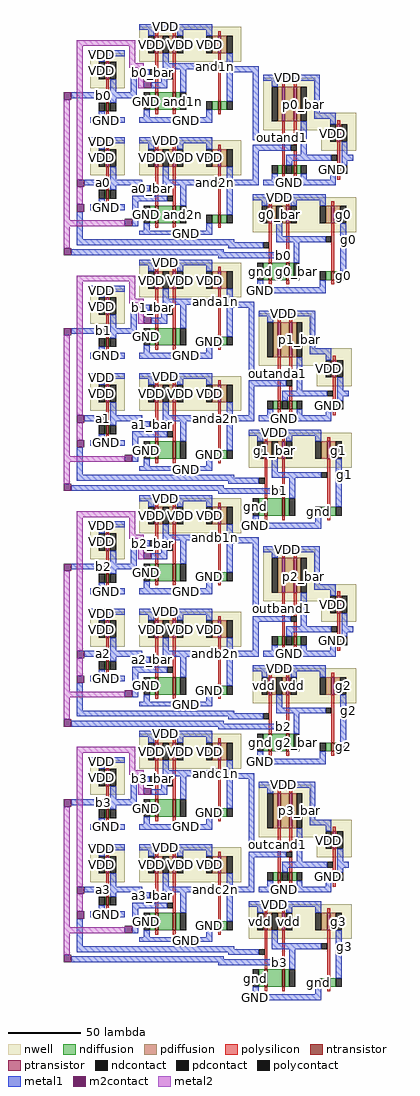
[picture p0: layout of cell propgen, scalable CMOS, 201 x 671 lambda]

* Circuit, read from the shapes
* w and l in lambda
.subckt propgen GND VDD a0 a0_bar a1 a1_bar a2 a2_bar a3 a3_bar and0m and1m and1n and2m and2n anda1m anda1n anda2m anda2n andb1m andb1n andb2m andb2n andc1m andc1n andc2m andc2n b0 b0_bar b1 b1_bar b2 b2_bar b3 b3_bar g0 g0_bar g1 g1_bar g2 g2_bar g3 g3_bar outand1 outand2 outanda1 outanda2 outband1 outband2 outcand1 outcand2 p0 p0_bar p1 p1_bar p2 p2_bar p3 p3_bar
M1 a3_bar a3 GND VSUBS nfet w=6 l=2
M2 b3_bar b3 GND VSUBS nfet w=6 l=2
M3 a2_bar a2 GND VSUBS nfet w=6 l=2
M4 b2_bar b2 GND VSUBS nfet w=6 l=2
M5 a1_bar a1 GND VSUBS nfet w=6 l=2
M6 b1_bar b1 GND VSUBS nfet w=6 l=2
M7 a0_bar a0 GND VSUBS nfet w=6 l=2
M8 b0_bar b0 GND VSUBS nfet w=6 l=2
M9 andc2m a3_bar GND VSUBS nfet w=12 l=2
M10 andc1m b3_bar GND VSUBS nfet w=12 l=2
M11 andb2m a2_bar GND VSUBS nfet w=12 l=2
M12 andb1m b2_bar GND VSUBS nfet w=12 l=2
M13 anda2m a1_bar GND VSUBS nfet w=12 l=2
M14 anda1m b1_bar GND VSUBS nfet w=12 l=2
M15 and2m a0_bar GND VSUBS nfet w=12 l=2
M16 and1m b0_bar GND VSUBS nfet w=12 l=2
M17 andc2n b3 andc2m VSUBS nfet w=12 l=2
M18 andc1n a3 andc1m VSUBS nfet w=12 l=2
M19 andb2n b2 andb2m VSUBS nfet w=12 l=2
M20 andb1n a2 andb1m VSUBS nfet w=12 l=2
M21 anda2n b1 anda2m VSUBS nfet w=12 l=2
M22 anda1n a1 anda1m VSUBS nfet w=12 l=2
M23 and2n b0 and2m VSUBS nfet w=12 l=2
M24 and1n a0 and1m VSUBS nfet w=12 l=2
M25 outcand2 andc2n GND VSUBS nfet w=6 l=2
M26 outcand1 andc1n GND VSUBS nfet w=6 l=2
M27 outband2 andb2n GND VSUBS nfet w=6 l=2
M28 outband1 andb1n GND VSUBS nfet w=6 l=2
M29 outanda2 anda2n GND VSUBS nfet w=6 l=2
M30 outanda1 anda1n GND VSUBS nfet w=6 l=2
M31 outand2 and2n GND VSUBS nfet w=6 l=2
M32 outand1 and1n GND VSUBS nfet w=6 l=2
M33 n1 a3 GND VSUBS nfet w=12 l=2
M34 n2 a1 GND VSUBS nfet w=12 l=2
M35 n3 a2 GND VSUBS nfet w=12 l=2
M36 and0m a0 GND VSUBS nfet w=12 l=2
M37 p3_bar outcand1 GND VSUBS nfet w=6 l=2
M38 p1_bar outanda1 GND VSUBS nfet w=6 l=2
M39 g3_bar b3 n1 VSUBS nfet w=12 l=2
M40 p2_bar outband1 GND VSUBS nfet w=6 l=2
M41 g1_bar b1 n2 VSUBS nfet w=12 l=2
M42 p0_bar outand1 GND VSUBS nfet w=6 l=2
M43 g2_bar b2 n3 VSUBS nfet w=12 l=2
M44 g0_bar b0 and0m VSUBS nfet w=12 l=2
M45 GND outcand2 p3_bar VSUBS nfet w=6 l=2
M46 GND outanda2 p1_bar VSUBS nfet w=6 l=2
M47 GND outband2 p2_bar VSUBS nfet w=6 l=2
M48 GND outand2 p0_bar VSUBS nfet w=6 l=2
M49 g3 g3_bar GND VSUBS nfet w=6 l=2
M50 g1 g1_bar GND VSUBS nfet w=6 l=2
M51 g2 g2_bar GND VSUBS nfet w=6 l=2
M52 g0 g0_bar GND VSUBS nfet w=6 l=2
M53 p3 p3_bar GND VSUBS nfet w=6 l=2
M54 p1 p1_bar GND VSUBS nfet w=6 l=2
M55 p2 p2_bar GND VSUBS nfet w=6 l=2
M56 p0 p0_bar GND VSUBS nfet w=6 l=2
M57 a3_bar a3 VDD n4 pfet w=12 l=2
M58 b3_bar b3 VDD n5 pfet w=12 l=2
M59 a2_bar a2 VDD n6 pfet w=12 l=2
M60 b2_bar b2 VDD n7 pfet w=12 l=2
M61 a1_bar a1 VDD n8 pfet w=12 l=2
M62 b1_bar b1 VDD n9 pfet w=12 l=2
M63 a0_bar a0 VDD n10 pfet w=12 l=2
M64 b0_bar b0 VDD n11 pfet w=12 l=2
M65 andc2n a3_bar VDD n12 pfet w=12 l=2
M66 andc1n b3_bar VDD n13 pfet w=12 l=2
M67 andb2n a2_bar VDD n14 pfet w=12 l=2
M68 andb1n b2_bar VDD n15 pfet w=12 l=2
M69 anda2n a1_bar VDD n16 pfet w=12 l=2
M70 anda1n b1_bar VDD n17 pfet w=12 l=2
M71 and2n a0_bar VDD n18 pfet w=12 l=2
M72 and1n b0_bar VDD n19 pfet w=12 l=2
M73 VDD b3 andc2n n12 pfet w=12 l=2
M74 VDD a3 andc1n n13 pfet w=12 l=2
M75 VDD b2 andb2n n14 pfet w=12 l=2
M76 VDD a2 andb1n n15 pfet w=12 l=2
M77 VDD b1 anda2n n16 pfet w=12 l=2
M78 VDD a1 anda1n n17 pfet w=12 l=2
M79 VDD b0 and2n n18 pfet w=12 l=2
M80 VDD a0 and1n n19 pfet w=12 l=2
M81 outcand2 andc2n VDD n12 pfet w=12 l=2
M82 outcand1 andc1n VDD n13 pfet w=12 l=2
M83 outband2 andb2n VDD n14 pfet w=12 l=2
M84 outband1 andb1n VDD n15 pfet w=12 l=2
M85 outanda2 anda2n VDD n16 pfet w=12 l=2
M86 outanda1 anda1n VDD n17 pfet w=12 l=2
M87 outand2 and2n VDD n18 pfet w=12 l=2
M88 outand1 and1n VDD n19 pfet w=12 l=2
M89 g3_bar a3 VDD n20 pfet w=12 l=2
M90 g1_bar a1 VDD n21 pfet w=12 l=2
M91 g2_bar a2 VDD n22 pfet w=12 l=2
M92 g0_bar a0 VDD n23 pfet w=12 l=2
M93 n24 outcand1 VDD n25 pfet w=24 l=2
M94 n26 outanda1 VDD n27 pfet w=24 l=2
M95 VDD b3 g3_bar n20 pfet w=12 l=2
M96 n28 outband1 VDD n29 pfet w=24 l=2
M97 VDD b1 g1_bar n21 pfet w=12 l=2
M98 n30 outand1 VDD n31 pfet w=24 l=2
M99 VDD b2 g2_bar n22 pfet w=12 l=2
M100 VDD b0 g0_bar n23 pfet w=12 l=2
M101 p3_bar outcand2 n24 n25 pfet w=24 l=2
M102 p1_bar outanda2 n26 n27 pfet w=24 l=2
M103 p2_bar outband2 n28 n29 pfet w=24 l=2
M104 p0_bar outand2 n30 n31 pfet w=24 l=2
M105 g3 g3_bar VDD n20 pfet w=12 l=2
M106 g1 g1_bar VDD n21 pfet w=12 l=2
M107 g2 g2_bar VDD n22 pfet w=12 l=2
M108 g0 g0_bar VDD n23 pfet w=12 l=2
M109 p3 p3_bar VDD n25 pfet w=12 l=2
M110 p1 p1_bar VDD n27 pfet w=12 l=2
M111 p2 p2_bar VDD n29 pfet w=12 l=2
M112 p0 p0_bar VDD n31 pfet w=12 l=2
.ends

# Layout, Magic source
magic
tech scmos
<< nwell >>
rect 18 87 42 111
rect 52 105 122 129
rect 137 70 173 94
rect 137 58 201 70
rect 18 27 42 51
rect 52 27 122 51
rect 177 44 201 58
rect 130 -12 201 12
rect 18 -75 42 -51
rect 52 -57 122 -33
rect 134 -92 170 -68
rect 134 -104 198 -92
rect 18 -135 42 -111
rect 52 -135 122 -111
rect 174 -118 198 -104
rect 127 -174 198 -150
rect 18 -237 42 -213
rect 52 -219 122 -195
rect 137 -254 173 -230
rect 137 -266 201 -254
rect 18 -297 42 -273
rect 52 -297 122 -273
rect 177 -280 201 -266
rect 130 -336 201 -312
rect 18 -399 42 -375
rect 52 -381 122 -357
rect 134 -416 170 -392
rect 134 -428 198 -416
rect 18 -459 42 -435
rect 52 -459 122 -435
rect 174 -442 198 -428
rect 127 -498 198 -474
<< ntransistor >>
rect 29 71 31 77
rect 63 72 65 84
rect 75 72 77 84
rect 106 72 108 78
rect 29 11 31 17
rect 63 -6 65 6
rect 75 -6 77 6
rect 150 28 152 34
rect 158 28 160 34
rect 188 28 190 34
rect 106 -6 108 0
rect 141 -45 143 -33
rect 153 -45 155 -33
rect 184 -45 186 -39
rect 29 -91 31 -85
rect 63 -90 65 -78
rect 75 -90 77 -78
rect 106 -90 108 -84
rect 29 -151 31 -145
rect 63 -168 65 -156
rect 75 -168 77 -156
rect 147 -134 149 -128
rect 155 -134 157 -128
rect 185 -134 187 -128
rect 106 -168 108 -162
rect 138 -207 140 -195
rect 150 -207 152 -195
rect 181 -207 183 -201
rect 29 -253 31 -247
rect 63 -252 65 -240
rect 75 -252 77 -240
rect 106 -252 108 -246
rect 29 -313 31 -307
rect 63 -330 65 -318
rect 75 -330 77 -318
rect 150 -296 152 -290
rect 158 -296 160 -290
rect 188 -296 190 -290
rect 106 -330 108 -324
rect 141 -369 143 -357
rect 153 -369 155 -357
rect 184 -369 186 -363
rect 29 -415 31 -409
rect 63 -414 65 -402
rect 75 -414 77 -402
rect 106 -414 108 -408
rect 29 -475 31 -469
rect 63 -492 65 -480
rect 75 -492 77 -480
rect 147 -458 149 -452
rect 155 -458 157 -452
rect 185 -458 187 -452
rect 106 -492 108 -486
rect 138 -531 140 -519
rect 150 -531 152 -519
rect 181 -531 183 -525
<< ptransistor >>
rect 63 111 65 123
rect 75 111 77 123
rect 106 111 108 123
rect 29 93 31 105
rect 150 64 152 88
rect 158 64 160 88
rect 29 33 31 45
rect 63 33 65 45
rect 75 33 77 45
rect 106 33 108 45
rect 188 50 190 62
rect 141 -6 143 6
rect 153 -6 155 6
rect 184 -6 186 6
rect 63 -51 65 -39
rect 75 -51 77 -39
rect 106 -51 108 -39
rect 29 -69 31 -57
rect 147 -98 149 -74
rect 155 -98 157 -74
rect 29 -129 31 -117
rect 63 -129 65 -117
rect 75 -129 77 -117
rect 106 -129 108 -117
rect 185 -112 187 -100
rect 138 -168 140 -156
rect 150 -168 152 -156
rect 181 -168 183 -156
rect 63 -213 65 -201
rect 75 -213 77 -201
rect 106 -213 108 -201
rect 29 -231 31 -219
rect 150 -260 152 -236
rect 158 -260 160 -236
rect 29 -291 31 -279
rect 63 -291 65 -279
rect 75 -291 77 -279
rect 106 -291 108 -279
rect 188 -274 190 -262
rect 141 -330 143 -318
rect 153 -330 155 -318
rect 184 -330 186 -318
rect 63 -375 65 -363
rect 75 -375 77 -363
rect 106 -375 108 -363
rect 29 -393 31 -381
rect 147 -422 149 -398
rect 155 -422 157 -398
rect 29 -453 31 -441
rect 63 -453 65 -441
rect 75 -453 77 -441
rect 106 -453 108 -441
rect 185 -436 187 -424
rect 138 -492 140 -480
rect 150 -492 152 -480
rect 181 -492 183 -480
<< ndiffusion >>
rect 28 71 29 77
rect 31 71 32 77
rect 59 72 63 84
rect 65 72 75 84
rect 77 72 80 84
rect 102 72 106 78
rect 108 72 112 78
rect 28 11 29 17
rect 31 11 32 17
rect 59 -6 63 6
rect 65 -6 75 6
rect 77 -6 80 6
rect 147 28 150 34
rect 152 28 153 34
rect 157 28 158 34
rect 160 28 163 34
rect 187 28 188 34
rect 190 28 191 34
rect 102 -6 106 0
rect 108 -6 112 0
rect 137 -45 141 -33
rect 143 -45 153 -33
rect 155 -45 158 -33
rect 180 -45 184 -39
rect 186 -45 190 -39
rect 28 -91 29 -85
rect 31 -91 32 -85
rect 59 -90 63 -78
rect 65 -90 75 -78
rect 77 -90 80 -78
rect 102 -90 106 -84
rect 108 -90 112 -84
rect 28 -151 29 -145
rect 31 -151 32 -145
rect 59 -168 63 -156
rect 65 -168 75 -156
rect 77 -168 80 -156
rect 144 -134 147 -128
rect 149 -134 150 -128
rect 154 -134 155 -128
rect 157 -134 160 -128
rect 184 -134 185 -128
rect 187 -134 188 -128
rect 102 -168 106 -162
rect 108 -168 112 -162
rect 134 -207 138 -195
rect 140 -207 150 -195
rect 152 -207 155 -195
rect 177 -207 181 -201
rect 183 -207 187 -201
rect 28 -253 29 -247
rect 31 -253 32 -247
rect 59 -252 63 -240
rect 65 -252 75 -240
rect 77 -252 80 -240
rect 102 -252 106 -246
rect 108 -252 112 -246
rect 28 -313 29 -307
rect 31 -313 32 -307
rect 59 -330 63 -318
rect 65 -330 75 -318
rect 77 -330 80 -318
rect 147 -296 150 -290
rect 152 -296 153 -290
rect 157 -296 158 -290
rect 160 -296 163 -290
rect 187 -296 188 -290
rect 190 -296 191 -290
rect 102 -330 106 -324
rect 108 -330 112 -324
rect 137 -369 141 -357
rect 143 -369 153 -357
rect 155 -369 158 -357
rect 180 -369 184 -363
rect 186 -369 190 -363
rect 28 -415 29 -409
rect 31 -415 32 -409
rect 59 -414 63 -402
rect 65 -414 75 -402
rect 77 -414 80 -402
rect 102 -414 106 -408
rect 108 -414 112 -408
rect 28 -475 29 -469
rect 31 -475 32 -469
rect 59 -492 63 -480
rect 65 -492 75 -480
rect 77 -492 80 -480
rect 144 -458 147 -452
rect 149 -458 150 -452
rect 154 -458 155 -452
rect 157 -458 160 -452
rect 184 -458 185 -452
rect 187 -458 188 -452
rect 102 -492 106 -486
rect 108 -492 112 -486
rect 134 -531 138 -519
rect 140 -531 150 -519
rect 152 -531 155 -519
rect 177 -531 181 -525
rect 183 -531 187 -525
<< pdiffusion >>
rect 62 111 63 123
rect 65 111 68 123
rect 72 111 75 123
rect 77 111 78 123
rect 102 111 106 123
rect 108 111 112 123
rect 28 93 29 105
rect 31 93 32 105
rect 147 64 150 88
rect 152 64 158 88
rect 160 64 163 88
rect 28 33 29 45
rect 31 33 32 45
rect 62 33 63 45
rect 65 33 68 45
rect 72 33 75 45
rect 77 33 78 45
rect 102 33 106 45
rect 108 33 112 45
rect 187 50 188 62
rect 190 50 191 62
rect 140 -6 141 6
rect 143 -6 146 6
rect 150 -6 153 6
rect 155 -6 156 6
rect 180 -6 184 6
rect 186 -6 190 6
rect 62 -51 63 -39
rect 65 -51 68 -39
rect 72 -51 75 -39
rect 77 -51 78 -39
rect 102 -51 106 -39
rect 108 -51 112 -39
rect 28 -69 29 -57
rect 31 -69 32 -57
rect 144 -98 147 -74
rect 149 -98 155 -74
rect 157 -98 160 -74
rect 28 -129 29 -117
rect 31 -129 32 -117
rect 62 -129 63 -117
rect 65 -129 68 -117
rect 72 -129 75 -117
rect 77 -129 78 -117
rect 102 -129 106 -117
rect 108 -129 112 -117
rect 184 -112 185 -100
rect 187 -112 188 -100
rect 137 -168 138 -156
rect 140 -168 143 -156
rect 147 -168 150 -156
rect 152 -168 153 -156
rect 177 -168 181 -156
rect 183 -168 187 -156
rect 62 -213 63 -201
rect 65 -213 68 -201
rect 72 -213 75 -201
rect 77 -213 78 -201
rect 102 -213 106 -201
rect 108 -213 112 -201
rect 28 -231 29 -219
rect 31 -231 32 -219
rect 147 -260 150 -236
rect 152 -260 158 -236
rect 160 -260 163 -236
rect 28 -291 29 -279
rect 31 -291 32 -279
rect 62 -291 63 -279
rect 65 -291 68 -279
rect 72 -291 75 -279
rect 77 -291 78 -279
rect 102 -291 106 -279
rect 108 -291 112 -279
rect 187 -274 188 -262
rect 190 -274 191 -262
rect 140 -330 141 -318
rect 143 -330 146 -318
rect 150 -330 153 -318
rect 155 -330 156 -318
rect 180 -330 184 -318
rect 186 -330 190 -318
rect 62 -375 63 -363
rect 65 -375 68 -363
rect 72 -375 75 -363
rect 77 -375 78 -363
rect 102 -375 106 -363
rect 108 -375 112 -363
rect 28 -393 29 -381
rect 31 -393 32 -381
rect 144 -422 147 -398
rect 149 -422 155 -398
rect 157 -422 160 -398
rect 28 -453 29 -441
rect 31 -453 32 -441
rect 62 -453 63 -441
rect 65 -453 68 -441
rect 72 -453 75 -441
rect 77 -453 78 -441
rect 102 -453 106 -441
rect 108 -453 112 -441
rect 184 -436 185 -424
rect 187 -436 188 -424
rect 137 -492 138 -480
rect 140 -492 143 -480
rect 147 -492 150 -480
rect 152 -492 153 -480
rect 177 -492 181 -480
rect 183 -492 187 -480
<< ndcontact >>
rect 24 71 28 77
rect 32 71 36 77
rect 55 72 59 84
rect 80 72 84 84
rect 98 72 102 78
rect 112 72 116 78
rect 24 11 28 17
rect 32 11 36 17
rect 55 -6 59 6
rect 80 -6 84 6
rect 143 28 147 34
rect 153 28 157 34
rect 163 28 167 34
rect 183 28 187 34
rect 191 28 195 34
rect 98 -6 102 0
rect 112 -6 116 0
rect 133 -45 137 -33
rect 158 -45 162 -33
rect 176 -45 180 -39
rect 190 -45 194 -39
rect 24 -91 28 -85
rect 32 -91 36 -85
rect 55 -90 59 -78
rect 80 -90 84 -78
rect 98 -90 102 -84
rect 112 -90 116 -84
rect 24 -151 28 -145
rect 32 -151 36 -145
rect 55 -168 59 -156
rect 80 -168 84 -156
rect 140 -134 144 -128
rect 150 -134 154 -128
rect 160 -134 164 -128
rect 180 -134 184 -128
rect 188 -134 192 -128
rect 98 -168 102 -162
rect 112 -168 116 -162
rect 130 -207 134 -195
rect 155 -207 159 -195
rect 173 -207 177 -201
rect 187 -207 191 -201
rect 24 -253 28 -247
rect 32 -253 36 -247
rect 55 -252 59 -240
rect 80 -252 84 -240
rect 98 -252 102 -246
rect 112 -252 116 -246
rect 24 -313 28 -307
rect 32 -313 36 -307
rect 55 -330 59 -318
rect 80 -330 84 -318
rect 143 -296 147 -290
rect 153 -296 157 -290
rect 163 -296 167 -290
rect 183 -296 187 -290
rect 191 -296 195 -290
rect 98 -330 102 -324
rect 112 -330 116 -324
rect 133 -369 137 -357
rect 158 -369 162 -357
rect 176 -369 180 -363
rect 190 -369 194 -363
rect 24 -415 28 -409
rect 32 -415 36 -409
rect 55 -414 59 -402
rect 80 -414 84 -402
rect 98 -414 102 -408
rect 112 -414 116 -408
rect 24 -475 28 -469
rect 32 -475 36 -469
rect 55 -492 59 -480
rect 80 -492 84 -480
rect 140 -458 144 -452
rect 150 -458 154 -452
rect 160 -458 164 -452
rect 180 -458 184 -452
rect 188 -458 192 -452
rect 98 -492 102 -486
rect 112 -492 116 -486
rect 130 -531 134 -519
rect 155 -531 159 -519
rect 173 -531 177 -525
rect 187 -531 191 -525
<< pdcontact >>
rect 58 111 62 123
rect 68 111 72 123
rect 78 111 82 123
rect 98 111 102 123
rect 112 111 116 123
rect 24 93 28 105
rect 32 93 36 105
rect 143 64 147 88
rect 163 64 167 88
rect 24 33 28 45
rect 32 33 36 45
rect 58 33 62 45
rect 68 33 72 45
rect 78 33 82 45
rect 98 33 102 45
rect 112 33 116 45
rect 183 50 187 62
rect 191 50 195 62
rect 136 -6 140 6
rect 146 -6 150 6
rect 156 -6 160 6
rect 176 -6 180 6
rect 190 -6 194 6
rect 58 -51 62 -39
rect 68 -51 72 -39
rect 78 -51 82 -39
rect 98 -51 102 -39
rect 112 -51 116 -39
rect 24 -69 28 -57
rect 32 -69 36 -57
rect 140 -98 144 -74
rect 160 -98 164 -74
rect 24 -129 28 -117
rect 32 -129 36 -117
rect 58 -129 62 -117
rect 68 -129 72 -117
rect 78 -129 82 -117
rect 98 -129 102 -117
rect 112 -129 116 -117
rect 180 -112 184 -100
rect 188 -112 192 -100
rect 133 -168 137 -156
rect 143 -168 147 -156
rect 153 -168 157 -156
rect 173 -168 177 -156
rect 187 -168 191 -156
rect 58 -213 62 -201
rect 68 -213 72 -201
rect 78 -213 82 -201
rect 98 -213 102 -201
rect 112 -213 116 -201
rect 24 -231 28 -219
rect 32 -231 36 -219
rect 143 -260 147 -236
rect 163 -260 167 -236
rect 24 -291 28 -279
rect 32 -291 36 -279
rect 58 -291 62 -279
rect 68 -291 72 -279
rect 78 -291 82 -279
rect 98 -291 102 -279
rect 112 -291 116 -279
rect 183 -274 187 -262
rect 191 -274 195 -262
rect 136 -330 140 -318
rect 146 -330 150 -318
rect 156 -330 160 -318
rect 176 -330 180 -318
rect 190 -330 194 -318
rect 58 -375 62 -363
rect 68 -375 72 -363
rect 78 -375 82 -363
rect 98 -375 102 -363
rect 112 -375 116 -363
rect 24 -393 28 -381
rect 32 -393 36 -381
rect 140 -422 144 -398
rect 160 -422 164 -398
rect 24 -453 28 -441
rect 32 -453 36 -441
rect 58 -453 62 -441
rect 68 -453 72 -441
rect 78 -453 82 -441
rect 98 -453 102 -441
rect 112 -453 116 -441
rect 180 -436 184 -424
rect 188 -436 192 -424
rect 133 -492 137 -480
rect 143 -492 147 -480
rect 153 -492 157 -480
rect 173 -492 177 -480
rect 187 -492 191 -480
<< polysilicon >>
rect 63 123 65 126
rect 75 123 77 126
rect 106 123 108 126
rect 29 105 31 108
rect 29 77 31 93
rect 63 84 65 111
rect 75 84 77 111
rect 106 78 108 111
rect 150 88 152 91
rect 158 88 160 91
rect 29 68 31 71
rect 63 69 65 72
rect 75 69 77 72
rect 106 69 108 72
rect 150 55 152 64
rect 29 45 31 48
rect 63 45 65 48
rect 75 45 77 48
rect 106 45 108 48
rect 150 34 152 51
rect 158 48 160 64
rect 188 62 190 65
rect 158 34 160 44
rect 188 34 190 50
rect 29 17 31 33
rect 29 8 31 11
rect 63 6 65 33
rect 75 6 77 33
rect 106 0 108 33
rect 150 25 152 28
rect 158 25 160 28
rect 188 24 190 28
rect 141 6 143 9
rect 153 6 155 9
rect 184 6 186 9
rect 63 -9 65 -6
rect 75 -9 77 -6
rect 106 -9 108 -6
rect 141 -33 143 -6
rect 153 -33 155 -6
rect 63 -39 65 -36
rect 75 -39 77 -36
rect 106 -39 108 -36
rect 184 -39 186 -6
rect 141 -48 143 -45
rect 153 -48 155 -45
rect 184 -48 186 -45
rect 29 -57 31 -54
rect 29 -85 31 -69
rect 63 -78 65 -51
rect 75 -78 77 -51
rect 106 -84 108 -51
rect 147 -74 149 -71
rect 155 -74 157 -71
rect 29 -94 31 -91
rect 63 -93 65 -90
rect 75 -93 77 -90
rect 106 -93 108 -90
rect 147 -107 149 -98
rect 29 -117 31 -114
rect 63 -117 65 -114
rect 75 -117 77 -114
rect 106 -117 108 -114
rect 147 -128 149 -111
rect 155 -114 157 -98
rect 185 -100 187 -97
rect 155 -128 157 -118
rect 185 -128 187 -112
rect 29 -145 31 -129
rect 29 -154 31 -151
rect 63 -156 65 -129
rect 75 -156 77 -129
rect 106 -162 108 -129
rect 147 -137 149 -134
rect 155 -137 157 -134
rect 185 -138 187 -134
rect 138 -156 140 -153
rect 150 -156 152 -153
rect 181 -156 183 -153
rect 63 -171 65 -168
rect 75 -171 77 -168
rect 106 -171 108 -168
rect 138 -195 140 -168
rect 150 -195 152 -168
rect 63 -201 65 -198
rect 75 -201 77 -198
rect 106 -201 108 -198
rect 181 -201 183 -168
rect 138 -210 140 -207
rect 150 -210 152 -207
rect 181 -210 183 -207
rect 29 -219 31 -216
rect 29 -247 31 -231
rect 63 -240 65 -213
rect 75 -240 77 -213
rect 106 -246 108 -213
rect 150 -236 152 -233
rect 158 -236 160 -233
rect 29 -256 31 -253
rect 63 -255 65 -252
rect 75 -255 77 -252
rect 106 -255 108 -252
rect 150 -269 152 -260
rect 29 -279 31 -276
rect 63 -279 65 -276
rect 75 -279 77 -276
rect 106 -279 108 -276
rect 150 -290 152 -273
rect 158 -276 160 -260
rect 188 -262 190 -259
rect 158 -290 160 -280
rect 188 -290 190 -274
rect 29 -307 31 -291
rect 29 -316 31 -313
rect 63 -318 65 -291
rect 75 -318 77 -291
rect 106 -324 108 -291
rect 150 -299 152 -296
rect 158 -299 160 -296
rect 188 -300 190 -296
rect 141 -318 143 -315
rect 153 -318 155 -315
rect 184 -318 186 -315
rect 63 -333 65 -330
rect 75 -333 77 -330
rect 106 -333 108 -330
rect 141 -357 143 -330
rect 153 -357 155 -330
rect 63 -363 65 -360
rect 75 -363 77 -360
rect 106 -363 108 -360
rect 184 -363 186 -330
rect 141 -372 143 -369
rect 153 -372 155 -369
rect 184 -372 186 -369
rect 29 -381 31 -378
rect 29 -409 31 -393
rect 63 -402 65 -375
rect 75 -402 77 -375
rect 106 -408 108 -375
rect 147 -398 149 -395
rect 155 -398 157 -395
rect 29 -418 31 -415
rect 63 -417 65 -414
rect 75 -417 77 -414
rect 106 -417 108 -414
rect 147 -431 149 -422
rect 29 -441 31 -438
rect 63 -441 65 -438
rect 75 -441 77 -438
rect 106 -441 108 -438
rect 147 -452 149 -435
rect 155 -438 157 -422
rect 185 -424 187 -421
rect 155 -452 157 -442
rect 185 -452 187 -436
rect 29 -469 31 -453
rect 29 -478 31 -475
rect 63 -480 65 -453
rect 75 -480 77 -453
rect 106 -486 108 -453
rect 147 -461 149 -458
rect 155 -461 157 -458
rect 185 -462 187 -458
rect 138 -480 140 -477
rect 150 -480 152 -477
rect 181 -480 183 -477
rect 63 -495 65 -492
rect 75 -495 77 -492
rect 106 -495 108 -492
rect 138 -519 140 -492
rect 150 -519 152 -492
rect 181 -525 183 -492
rect 138 -534 140 -531
rect 150 -534 152 -531
rect 181 -534 183 -531
<< polycontact >>
rect 59 96 63 100
rect 25 80 29 84
rect 71 93 75 97
rect 102 100 106 104
rect 148 51 152 55
rect 156 44 160 48
rect 184 37 188 41
rect 25 20 29 24
rect 59 16 63 20
rect 71 9 75 13
rect 102 20 106 24
rect 137 -23 141 -19
rect 149 -30 153 -26
rect 180 -19 184 -15
rect 59 -66 63 -62
rect 25 -82 29 -78
rect 71 -69 75 -65
rect 102 -62 106 -58
rect 145 -111 149 -107
rect 153 -118 157 -114
rect 181 -125 185 -121
rect 25 -142 29 -138
rect 59 -146 63 -142
rect 71 -153 75 -149
rect 102 -142 106 -138
rect 134 -185 138 -181
rect 146 -192 150 -188
rect 177 -181 181 -177
rect 59 -228 63 -224
rect 25 -244 29 -240
rect 71 -231 75 -227
rect 102 -224 106 -220
rect 148 -273 152 -269
rect 156 -280 160 -276
rect 184 -287 188 -283
rect 25 -304 29 -300
rect 59 -308 63 -304
rect 71 -315 75 -311
rect 102 -304 106 -300
rect 137 -347 141 -343
rect 149 -354 153 -350
rect 180 -343 184 -339
rect 59 -390 63 -386
rect 25 -406 29 -402
rect 71 -393 75 -389
rect 102 -386 106 -382
rect 145 -435 149 -431
rect 153 -442 157 -438
rect 181 -449 185 -445
rect 25 -466 29 -462
rect 59 -470 63 -466
rect 71 -477 75 -473
rect 102 -466 106 -462
rect 134 -509 138 -505
rect 146 -516 150 -512
rect 177 -505 181 -501
<< metal1 >>
rect 52 127 102 131
rect 58 123 62 127
rect 78 123 82 127
rect 18 109 42 113
rect 98 123 102 127
rect 24 105 28 109
rect 68 104 72 111
rect 68 100 102 104
rect 112 102 116 111
rect 32 84 36 93
rect 46 96 59 100
rect 46 84 50 96
rect 67 91 71 97
rect 60 87 71 91
rect 80 84 84 100
rect 5 80 25 84
rect 32 80 50 84
rect 32 77 36 80
rect 112 98 134 102
rect 112 78 116 98
rect 24 67 28 71
rect 55 67 59 72
rect 98 67 102 72
rect 18 63 42 67
rect 52 63 102 67
rect 130 55 134 98
rect 137 92 176 96
rect 143 88 147 92
rect 172 70 176 92
rect 172 66 187 70
rect 18 49 42 53
rect 52 49 102 53
rect 130 51 148 55
rect 24 45 28 49
rect 58 45 62 49
rect 78 45 82 49
rect 98 45 102 49
rect 32 24 36 33
rect 68 24 72 33
rect 112 24 116 33
rect 130 44 156 48
rect 130 24 134 44
rect 163 41 167 64
rect 183 62 187 66
rect 191 41 195 50
rect 153 37 184 41
rect 191 37 199 41
rect 153 34 157 37
rect 191 34 195 37
rect 143 24 147 28
rect 163 24 167 28
rect 183 24 187 28
rect 14 20 25 24
rect 32 20 54 24
rect 68 20 102 24
rect 112 20 134 24
rect 137 20 187 24
rect 32 17 36 20
rect 50 16 59 20
rect 24 7 28 11
rect 47 9 71 13
rect 18 3 42 7
rect 9 -17 13 2
rect 47 -8 51 9
rect 80 6 84 20
rect 112 0 116 20
rect 130 10 180 14
rect 136 6 140 10
rect 156 6 160 10
rect 176 6 180 10
rect 55 -11 59 -6
rect 98 -11 102 -6
rect 52 -14 102 -11
rect 146 -15 150 -6
rect 190 -15 194 -6
rect 9 -19 117 -17
rect 146 -19 180 -15
rect 190 -19 198 -15
rect 9 -21 137 -19
rect 113 -23 137 -21
rect 5 -26 110 -24
rect 5 -28 149 -26
rect 106 -30 149 -28
rect 52 -35 102 -31
rect 158 -33 162 -19
rect 58 -39 62 -35
rect 78 -39 82 -35
rect 18 -53 42 -49
rect 98 -39 102 -35
rect 190 -39 194 -19
rect 133 -50 137 -45
rect 176 -50 180 -45
rect 24 -57 28 -53
rect 68 -58 72 -51
rect 68 -62 102 -58
rect 112 -60 116 -51
rect 130 -54 180 -50
rect 32 -78 36 -69
rect 46 -66 59 -62
rect 46 -78 50 -66
rect 67 -71 71 -65
rect 60 -75 71 -71
rect 80 -78 84 -62
rect 5 -82 25 -78
rect 32 -82 50 -78
rect 32 -85 36 -82
rect 112 -64 131 -60
rect 112 -84 116 -64
rect 24 -95 28 -91
rect 55 -95 59 -90
rect 98 -95 102 -90
rect 18 -99 42 -95
rect 52 -99 102 -95
rect 127 -107 131 -64
rect 134 -70 173 -66
rect 140 -74 144 -70
rect 169 -92 173 -70
rect 169 -96 184 -92
rect 18 -113 42 -109
rect 52 -113 102 -109
rect 127 -111 145 -107
rect 24 -117 28 -113
rect 58 -117 62 -113
rect 78 -117 82 -113
rect 98 -117 102 -113
rect 32 -138 36 -129
rect 68 -138 72 -129
rect 112 -138 116 -129
rect 127 -118 153 -114
rect 127 -138 131 -118
rect 160 -121 164 -98
rect 180 -100 184 -96
rect 188 -121 192 -112
rect 150 -125 181 -121
rect 188 -125 196 -121
rect 150 -128 154 -125
rect 188 -128 192 -125
rect 140 -138 144 -134
rect 160 -138 164 -134
rect 180 -138 184 -134
rect 14 -142 25 -138
rect 32 -142 54 -138
rect 68 -142 102 -138
rect 112 -142 131 -138
rect 134 -142 184 -138
rect 32 -145 36 -142
rect 50 -146 59 -142
rect 24 -155 28 -151
rect 47 -153 71 -149
rect 18 -159 42 -155
rect 9 -179 13 -160
rect 47 -170 51 -153
rect 80 -156 84 -142
rect 112 -162 116 -142
rect 127 -152 177 -148
rect 133 -156 137 -152
rect 153 -156 157 -152
rect 173 -156 177 -152
rect 55 -173 59 -168
rect 98 -173 102 -168
rect 52 -176 102 -173
rect 143 -177 147 -168
rect 187 -177 191 -168
rect 9 -181 117 -179
rect 143 -181 177 -177
rect 187 -181 195 -177
rect 9 -183 134 -181
rect 113 -185 134 -183
rect 5 -188 110 -186
rect 5 -190 146 -188
rect 106 -192 146 -190
rect 52 -197 102 -193
rect 155 -195 159 -181
rect 58 -201 62 -197
rect 78 -201 82 -197
rect 18 -215 42 -211
rect 98 -201 102 -197
rect 187 -201 191 -181
rect 130 -212 134 -207
rect 173 -212 177 -207
rect 24 -219 28 -215
rect 68 -220 72 -213
rect 68 -224 102 -220
rect 112 -222 116 -213
rect 127 -216 177 -212
rect 32 -240 36 -231
rect 46 -228 59 -224
rect 46 -240 50 -228
rect 67 -233 71 -227
rect 60 -237 71 -233
rect 80 -240 84 -224
rect 5 -244 25 -240
rect 32 -244 50 -240
rect 32 -247 36 -244
rect 112 -226 134 -222
rect 112 -246 116 -226
rect 24 -257 28 -253
rect 55 -257 59 -252
rect 98 -257 102 -252
rect 18 -261 42 -257
rect 52 -261 102 -257
rect 130 -269 134 -226
rect 137 -232 176 -228
rect 143 -236 147 -232
rect 172 -254 176 -232
rect 172 -258 187 -254
rect 18 -275 42 -271
rect 52 -275 102 -271
rect 130 -273 148 -269
rect 24 -279 28 -275
rect 58 -279 62 -275
rect 78 -279 82 -275
rect 98 -279 102 -275
rect 32 -300 36 -291
rect 68 -300 72 -291
rect 112 -300 116 -291
rect 130 -280 156 -276
rect 130 -300 134 -280
rect 163 -283 167 -260
rect 183 -262 187 -258
rect 191 -283 195 -274
rect 153 -287 184 -283
rect 191 -287 199 -283
rect 153 -290 157 -287
rect 191 -290 195 -287
rect 143 -300 147 -296
rect 163 -300 167 -296
rect 183 -300 187 -296
rect 14 -304 25 -300
rect 32 -304 54 -300
rect 68 -304 102 -300
rect 112 -304 134 -300
rect 137 -304 187 -300
rect 32 -307 36 -304
rect 50 -308 59 -304
rect 24 -317 28 -313
rect 47 -315 71 -311
rect 18 -321 42 -317
rect 9 -341 13 -322
rect 47 -332 51 -315
rect 80 -318 84 -304
rect 112 -324 116 -304
rect 130 -314 180 -310
rect 136 -318 140 -314
rect 156 -318 160 -314
rect 176 -318 180 -314
rect 55 -335 59 -330
rect 98 -335 102 -330
rect 52 -338 102 -335
rect 146 -339 150 -330
rect 190 -339 194 -330
rect 9 -343 117 -341
rect 146 -343 180 -339
rect 190 -343 198 -339
rect 9 -345 137 -343
rect 113 -347 137 -345
rect 5 -350 110 -348
rect 5 -352 149 -350
rect 106 -354 149 -352
rect 52 -359 102 -355
rect 158 -357 162 -343
rect 58 -363 62 -359
rect 78 -363 82 -359
rect 18 -377 42 -373
rect 98 -363 102 -359
rect 190 -363 194 -343
rect 133 -374 137 -369
rect 176 -374 180 -369
rect 24 -381 28 -377
rect 68 -382 72 -375
rect 68 -386 102 -382
rect 112 -384 116 -375
rect 130 -378 180 -374
rect 32 -402 36 -393
rect 46 -390 59 -386
rect 46 -402 50 -390
rect 67 -395 71 -389
rect 60 -399 71 -395
rect 80 -402 84 -386
rect 5 -406 25 -402
rect 32 -406 50 -402
rect 32 -409 36 -406
rect 112 -388 131 -384
rect 112 -408 116 -388
rect 24 -419 28 -415
rect 55 -419 59 -414
rect 98 -419 102 -414
rect 18 -423 42 -419
rect 52 -423 102 -419
rect 127 -431 131 -388
rect 134 -394 173 -390
rect 140 -398 144 -394
rect 169 -416 173 -394
rect 169 -420 184 -416
rect 18 -437 42 -433
rect 52 -437 102 -433
rect 127 -435 145 -431
rect 24 -441 28 -437
rect 58 -441 62 -437
rect 78 -441 82 -437
rect 98 -441 102 -437
rect 32 -462 36 -453
rect 68 -462 72 -453
rect 112 -462 116 -453
rect 127 -442 153 -438
rect 127 -462 131 -442
rect 160 -445 164 -422
rect 180 -424 184 -420
rect 188 -445 192 -436
rect 150 -449 181 -445
rect 188 -449 196 -445
rect 150 -452 154 -449
rect 188 -452 192 -449
rect 140 -462 144 -458
rect 160 -462 164 -458
rect 180 -462 184 -458
rect 14 -466 25 -462
rect 32 -466 54 -462
rect 68 -466 102 -462
rect 112 -466 131 -462
rect 134 -466 184 -462
rect 32 -469 36 -466
rect 50 -470 59 -466
rect 24 -479 28 -475
rect 47 -477 71 -473
rect 18 -483 42 -479
rect 9 -503 13 -484
rect 47 -494 51 -477
rect 80 -480 84 -466
rect 112 -486 116 -466
rect 127 -476 177 -472
rect 133 -480 137 -476
rect 153 -480 157 -476
rect 173 -480 177 -476
rect 55 -497 59 -492
rect 98 -497 102 -492
rect 52 -500 102 -497
rect 143 -501 147 -492
rect 187 -501 191 -492
rect 9 -505 117 -503
rect 143 -505 177 -501
rect 187 -505 195 -501
rect 9 -507 134 -505
rect 113 -509 134 -507
rect 5 -512 110 -510
rect 5 -514 146 -512
rect 106 -516 146 -514
rect 155 -519 159 -505
rect 187 -525 191 -505
rect 130 -536 134 -531
rect 173 -536 177 -531
rect 127 -540 177 -536
<< m2contact >>
rect 55 87 60 92
rect 0 79 5 84
rect 9 19 14 24
rect 9 2 14 7
rect 42 -8 47 -3
rect 0 -28 5 -23
rect 55 -75 60 -70
rect 0 -83 5 -78
rect 9 -143 14 -138
rect 9 -160 14 -155
rect 42 -170 47 -165
rect 0 -190 5 -185
rect 55 -237 60 -232
rect 0 -245 5 -240
rect 9 -305 14 -300
rect 9 -322 14 -317
rect 42 -332 47 -327
rect 0 -352 5 -347
rect 55 -399 60 -394
rect 0 -407 5 -402
rect 9 -467 14 -462
rect 9 -484 14 -479
rect 42 -494 47 -489
rect 0 -514 5 -509
<< metal2 >>
rect 9 116 49 120
rect 0 -4 4 79
rect 9 24 13 116
rect 45 104 49 116
rect 45 101 55 104
rect 51 87 55 101
rect 9 7 13 19
rect 0 -8 42 -4
rect 0 -23 4 -8
rect 9 -46 49 -42
rect 0 -166 4 -83
rect 9 -138 13 -46
rect 45 -58 49 -46
rect 45 -61 55 -58
rect 51 -75 55 -61
rect 9 -155 13 -143
rect 0 -170 42 -166
rect 0 -185 4 -170
rect 9 -208 49 -204
rect 0 -328 4 -245
rect 9 -300 13 -208
rect 45 -220 49 -208
rect 45 -223 55 -220
rect 51 -237 55 -223
rect 9 -317 13 -305
rect 0 -332 42 -328
rect 0 -347 4 -332
rect 9 -370 49 -366
rect 0 -490 4 -407
rect 9 -462 13 -370
rect 45 -382 49 -370
rect 45 -385 55 -382
rect 51 -399 55 -385
rect 9 -479 13 -467
rect 0 -494 42 -490
rect 0 -509 4 -494
<< labels >>
rlabel metal1 26 110 26 110 5 VDD
rlabel metal1 29 65 29 65 1 GND
rlabel metal1 26 50 26 50 5 VDD
rlabel metal1 29 5 29 5 1 GND
rlabel metal1 70 51 70 51 5 VDD
rlabel metal1 84 -13 84 -13 1 GND
rlabel metal1 70 129 70 129 5 VDD
rlabel metal1 84 65 84 65 1 GND
rlabel metal1 154 94 154 94 5 VDD
rlabel metal1 155 22 155 22 1 GND
rlabel ndcontact 26 14 26 14 1 GND
rlabel pdcontact 26 39 26 39 1 VDD
rlabel ndcontact 26 74 26 74 1 GND
rlabel pdcontact 26 99 26 99 1 VDD
rlabel ndcontact 57 0 57 0 1 GND
rlabel ndiffusion 70 0 70 0 1 and2m
rlabel ndcontact 82 0 82 0 1 and2n
rlabel pdcontact 60 39 60 39 1 VDD
rlabel pdcontact 70 39 70 39 1 and2n
rlabel pdcontact 80 39 80 39 1 VDD
rlabel ndcontact 57 78 57 78 1 GND
rlabel ndiffusion 70 78 70 78 1 and1m
rlabel ndcontact 82 78 82 78 1 and1n
rlabel pdcontact 60 117 60 117 1 VDD
rlabel pdcontact 80 117 80 117 1 VDD
rlabel pdcontact 70 117 70 117 1 and1n
rlabel polycontact 104 102 104 102 1 and1n
rlabel pdcontact 100 117 100 117 1 VDD
rlabel pdcontact 114 117 114 117 1 outand1
rlabel ndcontact 114 75 114 75 1 outand1
rlabel ndcontact 100 75 100 75 1 GND
rlabel pdcontact 100 39 100 39 1 VDD
rlabel pdcontact 114 39 114 39 1 outand2
rlabel ndcontact 114 -3 114 -3 1 outand2
rlabel ndcontact 100 -3 100 -3 1 GND
rlabel polycontact 104 22 104 22 1 and2n
rlabel polycontact 150 53 150 53 1 outand1
rlabel polycontact 158 46 158 46 1 outand2
rlabel ndcontact 145 31 145 31 1 GND
rlabel ndcontact 165 31 165 31 1 GND
rlabel ndcontact 185 31 185 31 1 GND
rlabel pdcontact 185 56 185 56 1 VDD
rlabel metal1 135 -52 135 -52 2 GND
rlabel metal1 148 12 148 12 5 VDD
rlabel metal1 26 -52 26 -52 5 VDD
rlabel metal1 29 -97 29 -97 1 GND
rlabel metal1 26 -112 26 -112 5 VDD
rlabel metal1 29 -157 29 -157 1 GND
rlabel metal1 70 -111 70 -111 5 VDD
rlabel metal1 84 -175 84 -175 1 GND
rlabel metal1 70 -33 70 -33 5 VDD
rlabel metal1 84 -97 84 -97 1 GND
rlabel ndcontact 26 -148 26 -148 1 GND
rlabel pdcontact 26 -123 26 -123 1 VDD
rlabel ndcontact 26 -88 26 -88 1 GND
rlabel pdcontact 26 -63 26 -63 1 VDD
rlabel ndcontact 57 -162 57 -162 1 GND
rlabel pdcontact 60 -123 60 -123 1 VDD
rlabel pdcontact 80 -123 80 -123 1 VDD
rlabel ndcontact 57 -84 57 -84 1 GND
rlabel pdcontact 60 -45 60 -45 1 VDD
rlabel pdcontact 80 -45 80 -45 1 VDD
rlabel pdcontact 100 -45 100 -45 1 VDD
rlabel ndcontact 100 -87 100 -87 1 GND
rlabel pdcontact 100 -123 100 -123 1 VDD
rlabel ndcontact 100 -165 100 -165 1 GND
rlabel metal1 151 -68 151 -68 5 VDD
rlabel metal1 152 -140 152 -140 1 GND
rlabel ndcontact 142 -131 142 -131 1 GND
rlabel ndcontact 162 -131 162 -131 1 GND
rlabel ndcontact 182 -131 182 -131 1 GND
rlabel pdcontact 182 -106 182 -106 1 VDD
rlabel metal1 145 -150 145 -150 5 VDD
rlabel metal1 132 -214 132 -214 2 GND
rlabel metal1 26 -214 26 -214 5 VDD
rlabel metal1 29 -259 29 -259 1 GND
rlabel metal1 26 -274 26 -274 5 VDD
rlabel metal1 29 -319 29 -319 1 GND
rlabel metal1 70 -273 70 -273 5 VDD
rlabel metal1 84 -337 84 -337 1 GND
rlabel metal1 70 -195 70 -195 5 VDD
rlabel metal1 84 -259 84 -259 1 GND
rlabel metal1 154 -230 154 -230 5 VDD
rlabel metal1 155 -302 155 -302 1 GND
rlabel ndcontact 26 -310 26 -310 1 GND
rlabel pdcontact 26 -285 26 -285 1 VDD
rlabel ndcontact 26 -250 26 -250 1 GND
rlabel pdcontact 26 -225 26 -225 1 VDD
rlabel ndcontact 57 -324 57 -324 1 GND
rlabel pdcontact 60 -285 60 -285 1 VDD
rlabel pdcontact 80 -285 80 -285 1 VDD
rlabel ndcontact 57 -246 57 -246 1 GND
rlabel pdcontact 60 -207 60 -207 1 VDD
rlabel pdcontact 80 -207 80 -207 1 VDD
rlabel pdcontact 100 -207 100 -207 1 VDD
rlabel ndcontact 100 -249 100 -249 1 GND
rlabel pdcontact 100 -285 100 -285 1 VDD
rlabel ndcontact 100 -327 100 -327 1 GND
rlabel ndcontact 145 -293 145 -293 1 GND
rlabel ndcontact 165 -293 165 -293 1 GND
rlabel ndcontact 185 -293 185 -293 1 GND
rlabel pdcontact 185 -268 185 -268 1 VDD
rlabel metal1 135 -376 135 -376 2 GND
rlabel metal1 148 -312 148 -312 5 VDD
rlabel metal1 26 -376 26 -376 5 VDD
rlabel metal1 29 -421 29 -421 1 GND
rlabel metal1 26 -436 26 -436 5 VDD
rlabel metal1 29 -481 29 -481 1 GND
rlabel metal1 70 -435 70 -435 5 VDD
rlabel metal1 84 -499 84 -499 1 GND
rlabel metal1 70 -357 70 -357 5 VDD
rlabel metal1 84 -421 84 -421 1 GND
rlabel ndcontact 26 -472 26 -472 1 GND
rlabel pdcontact 26 -447 26 -447 1 VDD
rlabel ndcontact 26 -412 26 -412 1 GND
rlabel pdcontact 26 -387 26 -387 1 VDD
rlabel ndcontact 57 -486 57 -486 1 GND
rlabel pdcontact 60 -447 60 -447 1 VDD
rlabel pdcontact 80 -447 80 -447 1 VDD
rlabel ndcontact 57 -408 57 -408 1 GND
rlabel pdcontact 60 -369 60 -369 1 VDD
rlabel pdcontact 80 -369 80 -369 1 VDD
rlabel pdcontact 100 -369 100 -369 1 VDD
rlabel ndcontact 100 -411 100 -411 1 GND
rlabel pdcontact 100 -447 100 -447 1 VDD
rlabel ndcontact 100 -489 100 -489 1 GND
rlabel metal1 151 -392 151 -392 5 VDD
rlabel metal1 152 -464 152 -464 1 GND
rlabel ndcontact 142 -455 142 -455 1 GND
rlabel ndcontact 162 -455 162 -455 1 GND
rlabel ndcontact 182 -455 182 -455 1 GND
rlabel pdcontact 182 -430 182 -430 1 VDD
rlabel metal1 145 -474 145 -474 5 VDD
rlabel metal1 132 -538 132 -538 2 GND
rlabel metal1 196 -17 196 -17 7 g0
rlabel ndcontact 192 -42 192 -42 1 g0
rlabel pdcontact 192 0 192 0 1 g0
rlabel ndcontact 178 -42 178 -42 1 gnd
rlabel ndcontact 160 -39 160 -39 1 g0_bar
rlabel polycontact 182 -17 182 -17 1 g0_bar
rlabel pdcontact 148 0 148 0 1 g0_bar
rlabel pdcontact 178 0 178 0 1 vdd
rlabel pdcontact 158 0 158 0 1 vdd
rlabel pdcontact 138 0 138 0 1 vdd
rlabel ndcontact 135 -39 135 -39 1 gnd
rlabel ndiffusion 147 -39 147 -39 1 and0m
rlabel polycontact 151 -28 151 -28 1 b0
rlabel ndcontact 193 31 193 31 1 p0
rlabel metal1 197 39 197 39 7 p0
rlabel pdcontact 193 56 193 56 1 p0
rlabel polycontact 186 39 186 39 1 p0_bar
rlabel ndcontact 155 31 155 31 1 p0_bar
rlabel pdcontact 165 76 165 76 1 p0_bar
rlabel pdcontact 145 76 145 76 1 vdd
rlabel polycontact 27 22 27 22 1 a0
rlabel ndcontact 34 14 34 14 1 a0_bar
rlabel pdcontact 34 39 34 39 1 a0_bar
rlabel polycontact 61 18 61 18 1 a0_bar
rlabel polycontact 73 11 73 11 1 b0
rlabel polycontact 27 82 27 82 1 b0
rlabel pdcontact 34 99 34 99 1 b0_bar
rlabel ndcontact 34 74 34 74 1 b0_bar
rlabel polycontact 61 98 61 98 1 b0_bar
rlabel polycontact 73 95 73 95 1 a0
rlabel polycontact 139 -21 139 -21 1 a0
rlabel ndcontact 175 -204 175 -204 1 gnd
rlabel ndcontact 189 -204 189 -204 1 g1
rlabel metal1 193 -179 193 -179 1 g1
rlabel pdcontact 189 -162 189 -162 1 g1
rlabel pdcontact 175 -162 175 -162 1 vdd
rlabel polycontact 179 -179 179 -179 1 g1_bar
rlabel ndcontact 157 -201 157 -201 1 g1_bar
rlabel ndcontact 132 -201 132 -201 1 gnd
rlabel pdcontact 145 -162 145 -162 1 g1_bar
rlabel pdcontact 155 -162 155 -162 1 vdd
rlabel pdcontact 135 -162 135 -162 1 vdd
rlabel polycontact 148 -190 148 -190 1 b1
rlabel polycontact 136 -183 136 -183 1 a1
rlabel metal1 194 -123 194 -123 1 p1
rlabel ndcontact 190 -131 190 -131 1 p1
rlabel pdcontact 190 -106 190 -106 1 p1
rlabel polycontact 183 -123 183 -123 1 p1_bar
rlabel ndcontact 152 -131 152 -131 1 p1_bar
rlabel pdcontact 162 -86 162 -86 1 p1_bar
rlabel pdcontact 142 -86 142 -86 1 vdd
rlabel polycontact 27 -140 27 -140 1 a1
rlabel ndcontact 34 -148 34 -148 1 a1_bar
rlabel pdcontact 34 -123 34 -123 1 a1_bar
rlabel polycontact 61 -144 61 -144 1 a1_bar
rlabel polycontact 73 -151 73 -151 1 b1
rlabel polycontact 27 -80 27 -80 1 b1
rlabel ndcontact 34 -88 34 -88 1 b1_bar
rlabel pdcontact 34 -63 34 -63 1 b1_bar
rlabel polycontact 61 -64 61 -64 1 b1_bar
rlabel polycontact 73 -67 73 -67 1 a1
rlabel metal1 196 -341 196 -341 7 g2
rlabel ndcontact 192 -366 192 -366 1 g2
rlabel pdcontact 192 -324 192 -324 1 g2
rlabel ndcontact 178 -366 178 -366 1 gnd
rlabel ndcontact 160 -363 160 -363 1 g2_bar
rlabel ndcontact 135 -363 135 -363 1 gnd
rlabel polycontact 182 -341 182 -341 1 g2_bar
rlabel polycontact 151 -352 151 -352 1 b2
rlabel polycontact 139 -345 139 -345 1 a2
rlabel pdcontact 178 -324 178 -324 1 vdd
rlabel pdcontact 158 -324 158 -324 1 vdd
rlabel pdcontact 138 -324 138 -324 1 vdd
rlabel pdcontact 148 -324 148 -324 1 g2_bar
rlabel ndcontact 193 -293 193 -293 1 p2
rlabel metal1 197 -285 197 -285 7 p2
rlabel pdcontact 193 -268 193 -268 1 p2
rlabel polycontact 186 -285 186 -285 1 p2_bar
rlabel ndcontact 155 -293 155 -293 1 p2_bar
rlabel pdcontact 165 -249 165 -249 1 p2_bar
rlabel pdcontact 145 -248 145 -248 1 vdd
rlabel polycontact 27 -302 27 -302 1 a2
rlabel ndcontact 34 -310 34 -310 1 a2_bar
rlabel pdcontact 34 -285 34 -285 1 a2_bar
rlabel polycontact 61 -306 61 -306 1 a2_bar
rlabel polycontact 73 -313 73 -313 1 b2
rlabel polycontact 27 -242 27 -242 1 b2
rlabel pdcontact 34 -225 34 -225 1 b2_bar
rlabel ndcontact 34 -250 34 -250 1 b2_bar
rlabel polycontact 61 -226 61 -226 1 b2_bar
rlabel polycontact 73 -229 73 -229 1 a2
rlabel ndcontact 175 -528 175 -528 1 gnd
rlabel ndcontact 189 -528 189 -528 1 g3
rlabel metal1 193 -503 193 -503 1 g3
rlabel pdcontact 189 -486 189 -486 1 g3
rlabel pdcontact 175 -486 175 -486 1 vdd
rlabel polycontact 179 -503 179 -503 1 g3_bar
rlabel ndcontact 157 -525 157 -525 1 g3_bar
rlabel ndcontact 132 -525 132 -525 1 gnd
rlabel polycontact 148 -514 148 -514 1 b3
rlabel polycontact 136 -507 136 -507 1 a3
rlabel pdcontact 155 -486 155 -486 1 vdd
rlabel pdcontact 135 -486 135 -486 1 vdd
rlabel pdcontact 145 -486 145 -486 1 g3_bar
rlabel ndcontact 190 -455 190 -455 1 p3
rlabel metal1 194 -447 194 -447 1 p3
rlabel pdcontact 190 -430 190 -430 1 p3
rlabel polycontact 183 -447 183 -447 1 p3_bar
rlabel ndcontact 152 -455 152 -455 1 p3_bar
rlabel pdcontact 162 -410 162 -410 1 p3_bar
rlabel pdcontact 142 -410 142 -410 1 vdd
rlabel polycontact 27 -464 27 -464 1 a3
rlabel ndcontact 34 -472 34 -472 1 a3_bar
rlabel pdcontact 34 -447 34 -447 1 a3_bar
rlabel polycontact 61 -468 61 -468 1 a3_bar
rlabel polycontact 73 -475 73 -475 1 b3
rlabel polycontact 27 -404 27 -404 1 b3
rlabel pdcontact 34 -387 34 -387 1 b3_bar
rlabel ndcontact 34 -412 34 -412 1 b3_bar
rlabel polycontact 61 -388 61 -388 1 b3_bar
rlabel polycontact 73 -391 73 -391 1 a3
rlabel pdcontact 70 -45 70 -45 1 anda1n
rlabel ndcontact 82 -84 82 -84 1 anda1n
rlabel ndiffusion 70 -84 70 -84 1 anda1m
rlabel polycontact 104 -60 104 -60 1 anda1n
rlabel pdcontact 114 -45 114 -45 1 outanda1
rlabel ndcontact 114 -87 114 -87 1 outanda1
rlabel polycontact 147 -109 147 -109 1 outanda1
rlabel polycontact 155 -116 155 -116 1 outanda2
rlabel pdcontact 114 -123 114 -123 1 outanda2
rlabel ndcontact 114 -165 114 -165 1 outanda2
rlabel polycontact 104 -140 104 -140 1 anda2n
rlabel ndcontact 82 -162 82 -162 1 anda2n
rlabel ndiffusion 70 -162 70 -162 1 anda2m
rlabel pdcontact 70 -123 70 -123 1 anda2n
rlabel pdcontact 70 -207 70 -207 1 andb1n
rlabel ndiffusion 70 -246 70 -246 1 andb1m
rlabel ndcontact 82 -246 82 -246 1 andb1n
rlabel polycontact 104 -222 104 -222 1 andb1n
rlabel pdcontact 114 -207 114 -207 1 outband1
rlabel ndcontact 114 -249 114 -249 1 outband1
rlabel polycontact 150 -271 150 -271 1 outband1
rlabel polycontact 158 -278 158 -278 1 outband2
rlabel pdcontact 114 -285 114 -285 1 outband2
rlabel ndcontact 114 -327 114 -327 1 outband2
rlabel polycontact 104 -302 104 -302 1 andb2n
rlabel pdcontact 70 -285 70 -285 1 andb2n
rlabel ndcontact 82 -324 82 -324 1 andb2n
rlabel ndiffusion 70 -324 70 -324 1 andb2m
rlabel pdcontact 70 -369 70 -369 1 andc1n
rlabel ndcontact 82 -408 82 -408 1 andc1n
rlabel ndiffusion 70 -408 70 -408 1 andc1m
rlabel polycontact 104 -384 104 -384 1 andc1n
rlabel pdcontact 114 -369 114 -369 1 outcand1
rlabel ndcontact 114 -411 114 -411 1 outcand1
rlabel polycontact 147 -433 147 -433 1 outcand1
rlabel polycontact 155 -440 155 -440 1 outcand2
rlabel pdcontact 114 -447 114 -447 1 outcand2
rlabel ndcontact 114 -489 114 -489 1 outcand2
rlabel polycontact 104 -464 104 -464 1 andc2n
rlabel ndcontact 82 -486 82 -486 1 andc2n
rlabel ndiffusion 70 -486 70 -486 1 andc2m
rlabel pdcontact 70 -447 70 -447 1 andc2n
<< end >>
